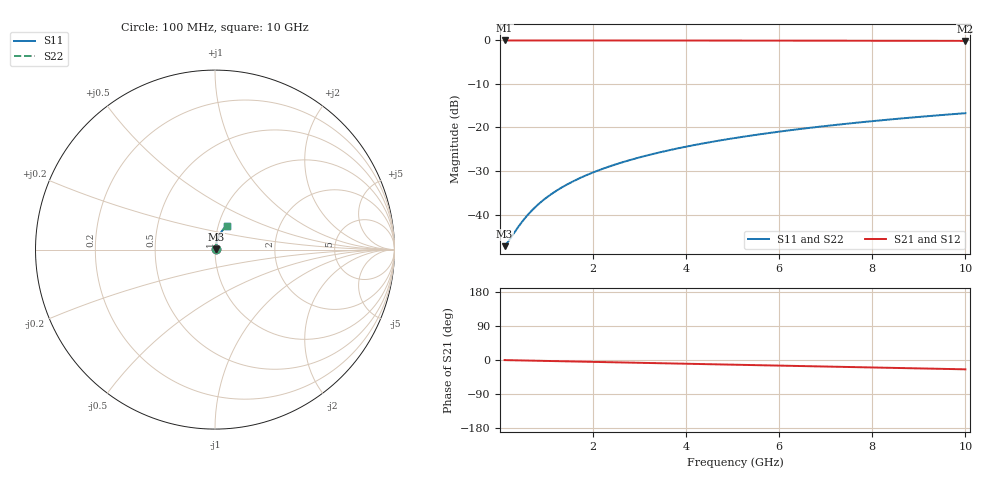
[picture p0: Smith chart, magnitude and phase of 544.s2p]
# Hz S RI R 50.00
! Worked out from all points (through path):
!   100 points, 100 MHz to 10 GHz, reference 50 ohm
!   highest |S21| = -0.04 dB at 100 MHz (marker M1); lowest = -0.1 dB at 10 GHz (marker M2)
!   group delay of S21, straight-line fit = 6.84 ps
!   lowest |S11| = -47.3 dB at 100 MHz (marker M3), VSWR 1.01, Z = 50.4 + j0.15 ohm
!   |S11| at or under -10 dB: start of sweep to end of sweep
!   |S22| runs from -47.3 to -16.7 dB; largest |S21 - S12| = 0
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1e8  0.00407 0.00149  0.9959 -0.00429  0.9959 -0.00429  0.00407 0.00149
2e8  0.00412 0.00298  0.9959 -0.00858  0.9959 -0.00858  0.00412 0.00298
4e8  0.00423 0.00596  0.9957 -0.0172  0.9957 -0.0172  0.00423 0.00596
5e8  0.0043 0.00745  0.9956 -0.0214  0.9956 -0.0214  0.0043 0.00745
6e8  0.00438 0.00894  0.9955 -0.0257  0.9955 -0.0257  0.00438 0.00894
7e8  0.00447 0.0104  0.9953 -0.03  0.9953 -0.03  0.00447 0.0104
8e8  0.00458 0.0119  0.9951 -0.0343  0.9951 -0.0343  0.00458 0.0119
1e9  0.00483 0.0149  0.9948 -0.0429  0.9948 -0.0429  0.00483 0.0149
1.2e9  0.00512 0.0179  0.9943 -0.0514  0.9943 -0.0514  0.00512 0.0179
1.5e9  0.00566 0.0223  0.9934 -0.0643  0.9934 -0.0643  0.00566 0.0223
1.8e9  0.00631 0.0267  0.9924 -0.0771  0.9924 -0.0771  0.00631 0.0267
2.1e9  0.00707 0.0311  0.9911 -0.0899  0.9911 -0.0899  0.00707 0.0311
2.5e9  0.00827 0.0369  0.9892 -0.1069  0.9892 -0.1069  0.00827 0.0369
2.9e9  0.00966 0.0427  0.987 -0.1239  0.987 -0.1239  0.00966 0.0427
3.4e9  0.0117 0.0499  0.9837 -0.1451  0.9837 -0.1451  0.0117 0.0499
4.2e9  0.0155 0.0611  0.9774 -0.1787  0.9774 -0.1787  0.0155 0.0611
5.1e9  0.0208 0.0734  0.9688 -0.2162  0.9688 -0.2162  0.0208 0.0734
5.9e9  0.0262 0.084  0.9599 -0.2491  0.9599 -0.2491  0.0262 0.084
6.7e9  0.0324 0.0941  0.9497 -0.2816  0.9497 -0.2816  0.0324 0.0941
7.5e9  0.0392 0.1038  0.9383 -0.3136  0.9383 -0.3136  0.0392 0.1038
8.4e9  0.0477 0.1141  0.9241 -0.349  0.9241 -0.349  0.0477 0.1141
1e10  0.0645 0.1306  0.8953 -0.4101  0.8953 -0.4101  0.0645 0.1306
